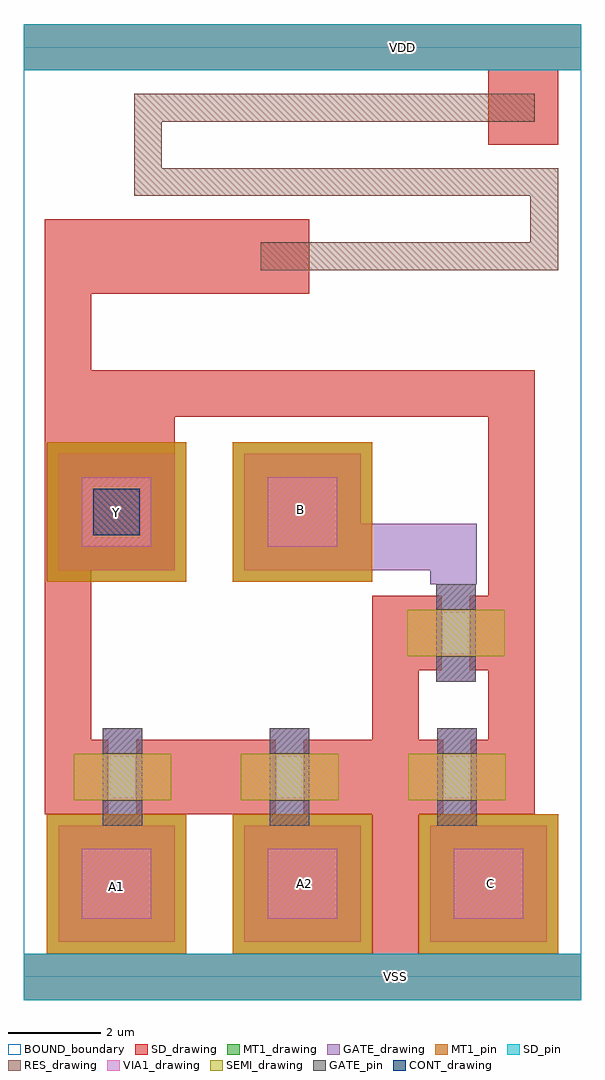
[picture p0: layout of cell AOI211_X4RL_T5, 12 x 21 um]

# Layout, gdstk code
from math import pi, radians
import gdstk
lib = gdstk.Library(unit=1e-6, precision=1e-09)
def R(c, l, rs):  # rectangles x0, y0, x1, y1
    for r in rs: c.add(gdstk.rectangle(r[:2], r[2:], *l))
def A(c, l, x, y, w, h, nx, ny, dx, dy):  # array of equal rectangles
    R(c, l, [(x+i*dx, y+j*dy, x+i*dx+w, y+j*dy+h) for i in range(nx) for j in range(ny)])
def P(c, l, *ps):  # polygons
    for p in ps: c.add(gdstk.Polygon(p, *l))
RES_drawing = (1, 0)
SEMI_drawing = (3, 0)
SD_drawing = (10, 0)
SD_pin = (10, 3)
GATE_drawing = (11, 0)
GATE_pin = (11, 3)
MT1_drawing = (20, 0)
MT1_pin = (20, 3)
CONT_drawing = (30, 0)
VIA1_drawing = (41, 0)
BOUND_boundary = (150, 5)

nch_cdns_772544878250 = lib.new_cell('nch_CDNS_772544878250')
R(nch_cdns_772544878250, SEMI_drawing, [(-1.05,-0.5,1.05,0.5)])
R(nch_cdns_772544878250, SD_drawing, [(-1.3,-0.8,-0.3,0.8), (0.3,-0.8,1.3,0.8)])
R(nch_cdns_772544878250, GATE_drawing, [(-0.425,-1.05,0.425,1.05)])
R(nch_cdns_772544878250, GATE_pin, [(-0.425,-1.05,0.425,-0.5), (-0.425,0.5,0.425,1.05)])

gate_mt1_cdns_7725448782 = lib.new_cell('GATE_MT1_CDNS_772544878250')
R(gate_mt1_cdns_7725448782, GATE_drawing, [(-1.25,-1.25,1.25,1.25)])
R(gate_mt1_cdns_7725448782, MT1_drawing, [(-1.25,-1.25,1.25,1.25)])
R(gate_mt1_cdns_7725448782, VIA1_drawing, [(-0.75,-0.75,0.75,0.75)])

sd_gate_cdns_77254487825 = lib.new_cell('SD_GATE_CDNS_772544878251')
R(sd_gate_cdns_77254487825, SD_drawing, [(-1,-1,1,1)])
R(sd_gate_cdns_77254487825, GATE_drawing, [(-1,-1,1,1)])
R(sd_gate_cdns_77254487825, CONT_drawing, [(-0.5,-0.5,0.5,0.5)])

aoi211_x4rl_t5 = lib.new_cell('AOI211_X4RL_T5')
R(aoi211_x4rl_t5, SD_drawing, [(0.75,8.75,3.25,11.25), (0.7,11.25,3.25,12.35), (4.6,14.7,6.15,16.3), (10,17.9,11.5,19.5)])
R(aoi211_x4rl_t5, SD_pin, [(0,-0.5,12,0.5), (0,19.5,12,20.5)])
P(aoi211_x4rl_t5, GATE_drawing, [(9.75,8.55),(8.75,8.55),(8.75,8.45),(8.925,8.45),(8.925,8.4),(9.675,8.4),(9.675,8.45),(9.75,8.45)],
  [(5.125,3.15),(6.125,3.15),(6.125,3.25),(6.05,3.25),(6.05,3.3),(5.3,3.3),(5.3,3.25),(5.125,3.25)],
  [(1.6,3.15),(2.6,3.15),(2.6,3.25),(2.5,3.25),(2.5,3.3),(1.75,3.3),(1.75,3.25),(1.6,3.25)],
  [(8.775,3.15),(9.775,3.15),(9.775,3.25),(9.675,3.25),(9.675,3.3),(8.925,3.3),(8.925,3.25),(8.775,3.25)])
A(aoi211_x4rl_t5, MT1_drawing, 0.5, 0.5, 3, 3, 3, 1, 4, 0)
R(aoi211_x4rl_t5, MT1_drawing, [(0.5,8.5,3.5,11.5), (4.5,8.5,7.5,11.5)])
A(aoi211_x4rl_t5, MT1_pin, 0.5, 0.5, 3, 3, 3, 1, 4, 0)
R(aoi211_x4rl_t5, MT1_pin, [(0.5,8.5,3.5,11.5), (4.5,8.5,7.5,11.5)])
R(aoi211_x4rl_t5, BOUND_boundary, [(0,0,12,20)])
aoi211_x4rl_t5.add(gdstk.FlexPath([(9.25,8.55),(9.25,9.25)], 1, ends=(0, 0.5), simple_path=True, layer=11, datatype=0))  # GATE_drawing
aoi211_x4rl_t5.add(gdstk.FlexPath([(9.25,9.25),(6,9.25)], 1, ends="extended", simple_path=True, layer=11, datatype=0))  # GATE_drawing
aoi211_x4rl_t5.add(gdstk.FlexPath([(6,9.25),(6,10)], 1, ends=(0.5, 0), simple_path=True, layer=11, datatype=0))  # GATE_drawing
aoi211_x4rl_t5.add(gdstk.FlexPath([(2,3.25),(2,2)], 2.5, ends="flush", simple_path=True, layer=11, datatype=0))  # GATE_drawing
aoi211_x4rl_t5.add(gdstk.FlexPath([(6,3.25),(6,2)], 1, ends="flush", simple_path=True, layer=11, datatype=0))  # GATE_drawing
aoi211_x4rl_t5.add(gdstk.FlexPath([(8,8.2),(8,4.3)], 1, ends=(0, 0.8), simple_path=True, layer=10, datatype=0))  # SD_drawing
aoi211_x4rl_t5.add(gdstk.FlexPath([(1.35,12.55),(1.525,12.55)], 1, ends=(0.5, 0.775), simple_path=True, layer=10, datatype=0))  # SD_drawing
aoi211_x4rl_t5.add(gdstk.FlexPath([(0.95,15.5),(4.1,15.5)], 1.6, ends=(0.5, 0.5), simple_path=True, layer=10, datatype=0))  # SD_drawing
aoi211_x4rl_t5.add(gdstk.FlexPath([(0.95,15.5),(0.95,16.3)], 1, ends=(0.8, 0), simple_path=True, layer=10, datatype=0))  # SD_drawing
aoi211_x4rl_t5.add(gdstk.FlexPath([(0.95,3.5),(0.95,15.5)], 1, ends=(0, 0.8), simple_path=True, layer=10, datatype=0))  # SD_drawing
aoi211_x4rl_t5.add(gdstk.FlexPath([(10.5,12.55),(10.5,3.5)], 1, ends=(0.5, 0), simple_path=True, layer=10, datatype=0))  # SD_drawing
aoi211_x4rl_t5.add(gdstk.FlexPath([(0.825,15.5),(0.95,15.5)], 1.6, ends=(0, 0.5), simple_path=True, layer=10, datatype=0))  # SD_drawing
aoi211_x4rl_t5.add(gdstk.FlexPath([(1.525,12.55),(10.5,12.55)], 1, ends=(0.775, 0.5), simple_path=True, layer=10, datatype=0))  # SD_drawing
aoi211_x4rl_t5.add(gdstk.FlexPath([(8,0),(8,4.3)], 1, ends=(0.5, 0.8), simple_path=True, layer=10, datatype=0))  # SD_drawing
aoi211_x4rl_t5.add(gdstk.FlexPath([(6.975,4.3),(8,4.3)], 1.6, ends=(0, 0.5), simple_path=True, layer=10, datatype=0))  # SD_drawing
aoi211_x4rl_t5.add(gdstk.FlexPath([(3.35,4.3),(4.425,4.3)], 1.6, ends="flush", simple_path=True, layer=10, datatype=0))  # SD_drawing
aoi211_x4rl_t5.add(gdstk.FlexPath([(8,0),(12,0)], 1, ends=(0.5, 0), simple_path=True, layer=10, datatype=0))  # SD_drawing
aoi211_x4rl_t5.add(gdstk.FlexPath([(0,0),(8,0)], 1, ends=(0, 0.5), simple_path=True, layer=10, datatype=0))  # SD_drawing
aoi211_x4rl_t5.add(gdstk.FlexPath([(12,20),(0,20)], 1, ends="flush", simple_path=True, layer=10, datatype=0))  # SD_drawing
aoi211_x4rl_t5.add(gdstk.FlexPath([(11,18.7),(2.675,18.7),(2.675,17.1),(11.2,17.1),(11.2,15.5),(5.1,15.5)], 0.6, ends="flush", simple_path=True, layer=1, datatype=0))  # RES_drawing
aoi211_x4rl_t5.add(gdstk.Reference(nch_cdns_772544878250, (9.325,4.3), x_reflection=True))
aoi211_x4rl_t5.add(gdstk.Reference(nch_cdns_772544878250, (2.125,4.3)))
aoi211_x4rl_t5.add(gdstk.Reference(nch_cdns_772544878250, (5.725,4.3), rotation=pi, x_reflection=True))
aoi211_x4rl_t5.add(gdstk.Reference(nch_cdns_772544878250, (9.3,7.4), x_reflection=True))
aoi211_x4rl_t5.add(gdstk.Reference(gate_mt1_cdns_7725448782, (2,10)))
aoi211_x4rl_t5.add(gdstk.Reference(gate_mt1_cdns_7725448782, (10,2)))
aoi211_x4rl_t5.add(gdstk.Reference(gate_mt1_cdns_7725448782, (6,10)))
aoi211_x4rl_t5.add(gdstk.Reference(gate_mt1_cdns_7725448782, (2,2)))
aoi211_x4rl_t5.add(gdstk.Reference(gate_mt1_cdns_7725448782, (6,2)))
aoi211_x4rl_t5.add(gdstk.Reference(sd_gate_cdns_77254487825, (2,10)))
aoi211_x4rl_t5.add(gdstk.Label('VSS', (8,0), layer=10, texttype=3))
aoi211_x4rl_t5.add(gdstk.Label('VDD', (8.15,20), layer=10, texttype=3))
aoi211_x4rl_t5.add(gdstk.Label('A1', (2,1.95), layer=20, texttype=3))
aoi211_x4rl_t5.add(gdstk.Label('A2', (6.05,2), layer=20, texttype=3))
aoi211_x4rl_t5.add(gdstk.Label('C', (10.05,2), layer=20, texttype=3))
aoi211_x4rl_t5.add(gdstk.Label('B', (5.95,10.05), layer=20, texttype=3))
aoi211_x4rl_t5.add(gdstk.Label('Y', (2,10), layer=20, texttype=3))

lib.write_gds('AOI211_X4RL_T5.gds')
